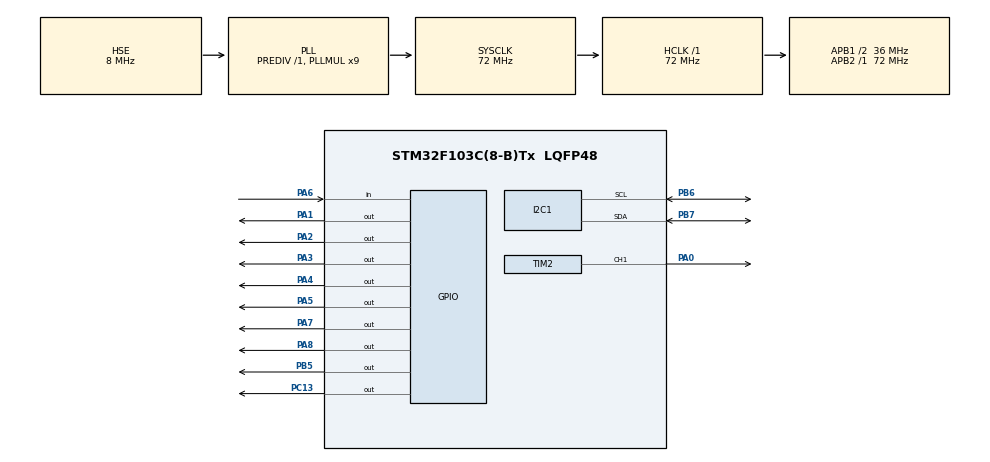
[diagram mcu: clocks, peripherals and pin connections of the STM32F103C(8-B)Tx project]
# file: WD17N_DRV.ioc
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FREERTOS.Tasks01=defaultTask,0,128,StartDefaultTask,Default,NULL,Dynamic,NULL,NULL
FREERTOS.configUSE_NEWLIB_REENTRANT=1
Mcu.Family=STM32F1
Mcu.Name=STM32F103C(8-B)Tx
Mcu.Package=LQFP48
NVIC.PriorityGroup=NVIC_PRIORITYGROUP_4
NVIC.TIM1_UP_IRQn=true\:15\:0\:false\:false\:true\:false\:false\:true\:true
NVIC.TIM2_IRQn=true\:5\:0\:false\:false\:true\:true\:true\:true\:true
NVIC.TimeBase=TIM1_UP_IRQn
NVIC.TimeBaseIP=TIM1
PA0-WKUP.Signal=S_TIM2_CH1_ETR
PA1.Signal=GPIO_Output
PA13.Mode=JTAG_4_pins
PA13.Signal=SYS_JTMS-SWDIO
PA14.Mode=JTAG_4_pins
PA14.Signal=SYS_JTCK-SWCLK
PA15.Mode=JTAG_4_pins
PA15.Signal=SYS_JTDI
PA2.Signal=GPIO_Output
PA3.Signal=GPIO_Output
PA4.Signal=GPIO_Output
PA5.Signal=GPIO_Output
PA6.Signal=GPIO_Input
PA7.Signal=GPIO_Output
PA8.Signal=GPIO_Output
PB3.Mode=JTAG_4_pins
PB3.Signal=SYS_JTDO-TRACESWO
PB5.Signal=GPIO_Output
PB6.Mode=I2C
PB6.Signal=I2C1_SCL
PB7.Mode=I2C
PB7.Signal=I2C1_SDA
PC13-TAMPER-RTC.Signal=GPIO_Output
PD0-OSC_IN.Mode=HSE-External-Oscillator
PD0-OSC_IN.Signal=RCC_OSC_IN
PD1-OSC_OUT.Mode=HSE-External-Oscillator
PD1-OSC_OUT.Signal=RCC_OSC_OUT
ProjectManager.HeapSize=0x200
ProjectManager.StackSize=0x400
ProjectManager.TargetToolchain=STM32CubeIDE
RCC.AHBFreq_Value=72000000
RCC.APB1CLKDivider=RCC_HCLK_DIV2
RCC.APB1Freq_Value=36000000
RCC.APB1TimFreq_Value=72000000
RCC.APB2Freq_Value=72000000
RCC.APB2TimFreq_Value=72000000
RCC.HCLKFreq_Value=72000000
RCC.PLLMUL=RCC_PLL_MUL9
RCC.PLLSourceVirtual=RCC_PLLSOURCE_HSE
RCC.SYSCLKFreq_VALUE=72000000
RCC.SYSCLKSource=RCC_SYSCLKSOURCE_PLLCLK
RCC.USBFreq_Value=72000000
SH.S_TIM2_CH1_ETR.0=TIM2_CH1,PWM Generation1 CH1
TIM2.Channel-PWM\ Generation1\ CH1=TIM_CHANNEL_1
TIM2.Period=4 - 1
TIM2.Prescaler=72 - 1
TIM2.Pulse-PWM\ Generation1\ CH1=50
VP_FREERTOS_VS_CMSIS_V1.Mode=CMSIS_V1
VP_SYS_VS_tim1.Mode=TIM1
VP_TIM2_VS_ClockSourceINT.Mode=Internal
board=custom

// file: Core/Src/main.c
/* USER CODE BEGIN Header */
/**
  ******************************************************************************
  * @file           : main.c
  * @brief          : Main program body
  ******************************************************************************
  * @attention
  *
  * Copyright (c) 2025 STMicroelectronics.
  * All rights reserved.
  *
  * This software is licensed under terms that can be found in the LICENSE file
  * in the root directory of this software component.
  * If no LICENSE file comes with this software, it is provided AS-IS.
  *
  ******************************************************************************
  */
/* USER CODE END Header */
#include "main.h"
#include "cmsis_os.h"

/* USER CODE BEGIN Includes */
#include "driver.h"
#include "encoder.h"
#include "i2c_bus.h"
/* USER CODE END Includes */

I2C_HandleTypeDef hi2c1;

TIM_HandleTypeDef htim2;

osThreadId driverTaskHandler;
osThreadId encoderTaskHandler;

void SystemClock_Config(void);
static void MX_GPIO_Init(void);
static void MX_I2C1_Init(void);
static void MX_TIM2_Init(void);

/* USER CODE BEGIN PFP */
void StartDriverTask(void const* argument);
void StartEncoderTask(void const* argument);

/* USER CODE END PFP */

/* USER CODE BEGIN 0 */
volatile float motor_speed = 3.0;	// 3 rps
float angle_data = 0.0;
uint8_t available_node[MAX_NODE] = {0};
uint8_t counter_data = 0;
/* USER CODE END 0 */

int main(void)
{

  /* MCU Configuration--------------------------------------------------------*/

  /* Reset of all peripherals, Initializes the Flash interface and the Systick. */
  HAL_Init();

  /* Configure the system clock */
  SystemClock_Config();

  /* Initialize all configured peripherals */
  MX_GPIO_Init();
  MX_I2C1_Init();
  MX_TIM2_Init();
  /* USER CODE BEGIN 2 */
  i2c_scanbus(&hi2c1, available_node);
  stepperInit();
  setMicrostep(0,0,0);
  configureSpeed(motor_speed);
  /* USER CODE END 2 */

  /* Create the thread(s) */
  /* definition and creation of defaultTask */

  /* USER CODE BEGIN RTOS_THREADS */
  /* add threads, ... */
  osThreadDef(driverTask, StartDriverTask, osPriorityNormal, 0, 128);
  driverTaskHandler = osThreadCreate(osThread(driverTask), NULL);

  osThreadDef(encoderTask, StartEncoderTask, osPriorityNormal, 0, 128);
  encoderTaskHandler = osThreadCreate(osThread(encoderTask), NULL);
  /* USER CODE END RTOS_THREADS */

  /* Start scheduler */
  osKernelStart();

  /* We should never get here as control is now taken by the scheduler */

  /* Infinite loop */
  while (1)
  {

  }
}

void SystemClock_Config(void)
{
  RCC_OscInitTypeDef RCC_OscInitStruct = {0};
  RCC_ClkInitTypeDef RCC_ClkInitStruct = {0};

  /** Initializes the RCC Oscillators according to the specified parameters
  * in the RCC_OscInitTypeDef structure.
  */
  RCC_OscInitStruct.OscillatorType = RCC_OSCILLATORTYPE_HSE;
  RCC_OscInitStruct.HSEState = RCC_HSE_ON;
  RCC_OscInitStruct.HSEPredivValue = RCC_HSE_PREDIV_DIV1;
  RCC_OscInitStruct.HSIState = RCC_HSI_ON;
  RCC_OscInitStruct.PLL.PLLState = RCC_PLL_ON;
  RCC_OscInitStruct.PLL.PLLSource = RCC_PLLSOURCE_HSE;
  RCC_OscInitStruct.PLL.PLLMUL = RCC_PLL_MUL9;
  if (HAL_RCC_OscConfig(&RCC_OscInitStruct) != HAL_OK)
  {
    Error_Handler();
  }

  /** Initializes the CPU, AHB and APB buses clocks
  */
  RCC_ClkInitStruct.ClockType = RCC_CLOCKTYPE_HCLK|RCC_CLOCKTYPE_SYSCLK
                              |RCC_CLOCKTYPE_PCLK1|RCC_CLOCKTYPE_PCLK2;
  RCC_ClkInitStruct.SYSCLKSource = RCC_SYSCLKSOURCE_PLLCLK;
  RCC_ClkInitStruct.AHBCLKDivider = RCC_SYSCLK_DIV1;
  RCC_ClkInitStruct.APB1CLKDivider = RCC_HCLK_DIV2;
  RCC_ClkInitStruct.APB2CLKDivider = RCC_HCLK_DIV1;

  if (HAL_RCC_ClockConfig(&RCC_ClkInitStruct, FLASH_LATENCY_2) != HAL_OK)
  {
    Error_Handler();
  }
}

static void MX_I2C1_Init(void)
{

  hi2c1.Instance = I2C1;
  hi2c1.Init.ClockSpeed = 100000;
  hi2c1.Init.DutyCycle = I2C_DUTYCYCLE_2;
  hi2c1.Init.OwnAddress1 = 0;
  hi2c1.Init.AddressingMode = I2C_ADDRESSINGMODE_7BIT;
  hi2c1.Init.DualAddressMode = I2C_DUALADDRESS_DISABLE;
  hi2c1.Init.OwnAddress2 = 0;
  hi2c1.Init.GeneralCallMode = I2C_GENERALCALL_DISABLE;
  hi2c1.Init.NoStretchMode = I2C_NOSTRETCH_DISABLE;
  if (HAL_I2C_Init(&hi2c1) != HAL_OK)
  {
    Error_Handler();
  }

}

static void MX_TIM2_Init(void)
{

  TIM_ClockConfigTypeDef sClockSourceConfig = {0};
  TIM_MasterConfigTypeDef sMasterConfig = {0};
  TIM_OC_InitTypeDef sConfigOC = {0};

  htim2.Instance = TIM2;
  htim2.Init.Prescaler = 72 - 1;
  htim2.Init.CounterMode = TIM_COUNTERMODE_UP;
  htim2.Init.Period = 4 - 1;
  htim2.Init.ClockDivision = TIM_CLOCKDIVISION_DIV1;
  htim2.Init.AutoReloadPreload = TIM_AUTORELOAD_PRELOAD_DISABLE;
  if (HAL_TIM_Base_Init(&htim2) != HAL_OK)
  {
    Error_Handler();
  }
  sClockSourceConfig.ClockSource = TIM_CLOCKSOURCE_INTERNAL;
  if (HAL_TIM_ConfigClockSource(&htim2, &sClockSourceConfig) != HAL_OK)
  {
    Error_Handler();
  }
  if (HAL_TIM_PWM_Init(&htim2) != HAL_OK)
  {
    Error_Handler();
  }
  sMasterConfig.MasterOutputTrigger = TIM_TRGO_RESET;
  sMasterConfig.MasterSlaveMode = TIM_MASTERSLAVEMODE_DISABLE;
  if (HAL_TIMEx_MasterConfigSynchronization(&htim2, &sMasterConfig) != HAL_OK)
  {
    Error_Handler();
  }
  sConfigOC.OCMode = TIM_OCMODE_PWM1;
  sConfigOC.Pulse = 50;
  sConfigOC.OCPolarity = TIM_OCPOLARITY_HIGH;
  sConfigOC.OCFastMode = TIM_OCFAST_DISABLE;
  if (HAL_TIM_PWM_ConfigChannel(&htim2, &sConfigOC, TIM_CHANNEL_1) != HAL_OK)
  {
    Error_Handler();
  }
  HAL_TIM_MspPostInit(&htim2);

}

static void MX_GPIO_Init(void)
{
  GPIO_InitTypeDef GPIO_InitStruct = {0};

  /* GPIO Ports Clock Enable */
  __HAL_RCC_GPIOC_CLK_ENABLE();
  __HAL_RCC_GPIOD_CLK_ENABLE();
  __HAL_RCC_GPIOA_CLK_ENABLE();
  __HAL_RCC_GPIOB_CLK_ENABLE();

  /*Configure GPIO pin Output Level */
  HAL_GPIO_WritePin(GPIOC, GPIO_PIN_13, GPIO_PIN_RESET);

  /*Configure GPIO pin Output Level */
  HAL_GPIO_WritePin(GPIOA, GPIO_PIN_1|GPIO_PIN_2|GPIO_PIN_3|GPIO_PIN_4
                          |GPIO_PIN_5|GPIO_PIN_7|GPIO_PIN_8, GPIO_PIN_RESET);

  /*Configure GPIO pin Output Level */
  HAL_GPIO_WritePin(GPIOB, GPIO_PIN_5, GPIO_PIN_RESET);

  /*Configure GPIO pin : PC13 */
  GPIO_InitStruct.Pin = GPIO_PIN_13;
  GPIO_InitStruct.Mode = GPIO_MODE_OUTPUT_PP;
  GPIO_InitStruct.Pull = GPIO_NOPULL;
  GPIO_InitStruct.Speed = GPIO_SPEED_FREQ_LOW;
  HAL_GPIO_Init(GPIOC, &GPIO_InitStruct);

  /*Configure GPIO pins : PA1 PA2 PA3 PA4
                           PA5 PA7 PA8 */
  GPIO_InitStruct.Pin = GPIO_PIN_1|GPIO_PIN_2|GPIO_PIN_3|GPIO_PIN_4
                          |GPIO_PIN_5|GPIO_PIN_7|GPIO_PIN_8;
  GPIO_InitStruct.Mode = GPIO_MODE_OUTPUT_PP;
  GPIO_InitStruct.Pull = GPIO_NOPULL;
  GPIO_InitStruct.Speed = GPIO_SPEED_FREQ_LOW;
  HAL_GPIO_Init(GPIOA, &GPIO_InitStruct);

  /*Configure GPIO pin : PA6 */
  GPIO_InitStruct.Pin = GPIO_PIN_6;
  GPIO_InitStruct.Mode = GPIO_MODE_INPUT;
  GPIO_InitStruct.Pull = GPIO_NOPULL;
  HAL_GPIO_Init(GPIOA, &GPIO_InitStruct);

  /*Configure GPIO pin : PB5 */
  GPIO_InitStruct.Pin = GPIO_PIN_5;
  GPIO_InitStruct.Mode = GPIO_MODE_OUTPUT_PP;
  GPIO_InitStruct.Pull = GPIO_NOPULL;
  GPIO_InitStruct.Speed = GPIO_SPEED_FREQ_LOW;
  HAL_GPIO_Init(GPIOB, &GPIO_InitStruct);

}

/* USER CODE BEGIN 4 */
void StartDriverTask(void const* argument){
	for(;;){
		generateStep(200);
	}
}

void StartEncoderTask(void const* argument){
	float enc_angle = 0.0;
	for(;;){
		encGetAngle(&enc_angle);
		angle_data = enc_angle;
	}
}
/* USER CODE END 4 */

void HAL_TIM_PeriodElapsedCallback(TIM_HandleTypeDef *htim)
{
  if (htim->Instance == TIM1) {
    HAL_IncTick();
  }
}

void Error_Handler(void)
{
  __disable_irq();
  while (1)
  {
  }
}
